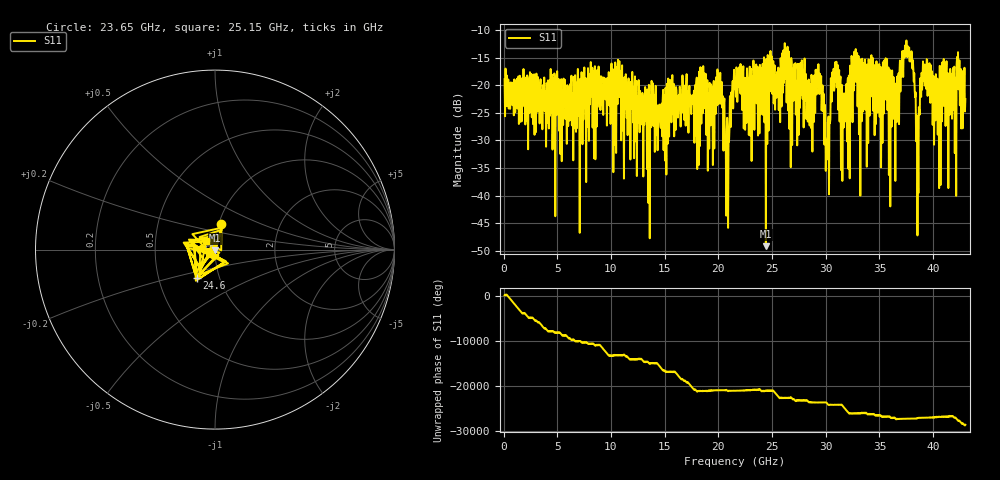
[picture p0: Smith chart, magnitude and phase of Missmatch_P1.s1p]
# Hz S RI R 50.000000
! Metas.Vna.Tools, 2.9.9438.25149
! Metas.Vna.Data, 2.9.9438.25100
! Created: UTC 2026.07.01 05:49:48
! FREQ  re:S1,1  im:S1,1
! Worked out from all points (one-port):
!   1001 points, 100 MHz to 43 GHz, reference 50 ohm
!   lowest |S11| = -49.2 dB at 24.42 GHz (marker M1), VSWR 1.01, Z = 50 - j0.346 ohm
!   |S11| at or under -10 dB: start of sweep to end of sweep
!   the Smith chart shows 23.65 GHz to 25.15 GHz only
!   S11 on the Smith chart (normalised r, x): 23.65 GHz: 1.03, +0.30; 24.6 GHz: 0.78, -0.25; 25.15 GHz: 0.90, +0.09
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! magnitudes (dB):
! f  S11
! 100 MHz  -18.9
! 5.463 GHz  -21.0
! 10.82 GHz  -21.9
! 13.53 GHz  -19.9
! 16.19 GHz  -22.1
! 19.23 GHz  -23.2
! 20.01 GHz  -23.5
! 20.82 GHz  -25.9
! 21.55 GHz  -19.4
! 23.65 GHz  -16.7
! 24.42 GHz  -49.2
! 24.6 GHz  -14.5
! 25.15 GHz  -23.3
! 26.91 GHz  -17.0
! 28.54 GHz  -19.8
! 29.36 GHz  -19.7
! 30.09 GHz  -33.5
! 30.82 GHz  -20.4
! 31.63 GHz  -22.0
! 32.27 GHz  -16.5
! 32.83 GHz  -19.5
! 36.48 GHz  -37.3
! 37.64 GHz  -12.9
! 38.15 GHz  -17.1
! 38.54 GHz  -47.2
! 39.22 GHz  -20.1
! 40.34 GHz  -24.8
! 43 GHz  -22.5
